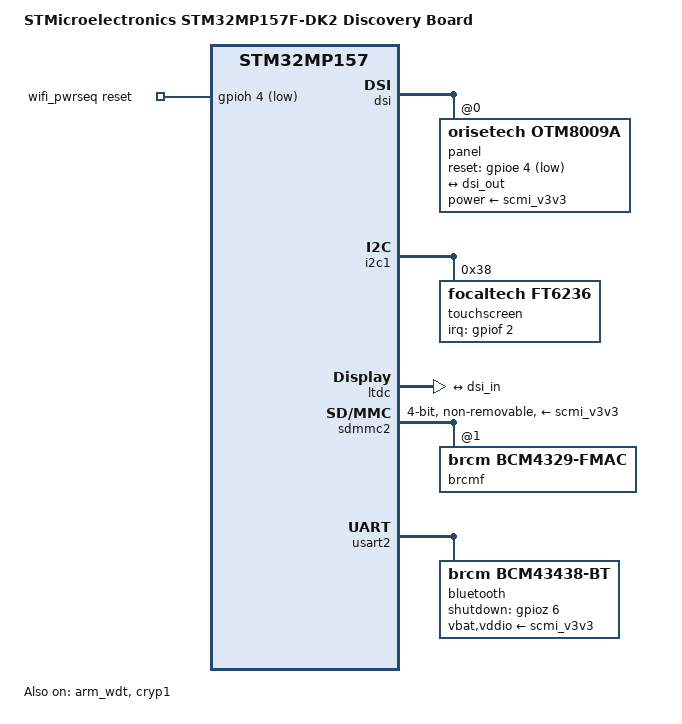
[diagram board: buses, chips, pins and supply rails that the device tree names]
// SPDX-License-Identifier: (GPL-2.0-only OR BSD-3-Clause)
/*
 * Copyright (C) STMicroelectronics 2025 - All Rights Reserved
 * Author: Amelie Delaunay <amelie.delaunay@foss.st.com> for STMicroelectronics.
 */

/dts-v1/;

#include "stm32mp157.dtsi"
#include "stm32mp15xf.dtsi"
#include "stm32mp15-pinctrl.dtsi"
#include "stm32mp15xxac-pinctrl.dtsi"
#include "stm32mp15xx-dkx.dtsi"
#include "stm32mp157f-dk2-scmi.dtsi"

/ {
	model = "STMicroelectronics STM32MP157F-DK2 Discovery Board";
	compatible = "st,stm32mp157f-dk2", "st,stm32mp157";

	aliases {
		ethernet0 = &ethernet0;
		serial3 = &usart2;
	};

	chosen {
		stdout-path = "serial0:115200n8";
	};

	wifi_pwrseq: wifi-pwrseq {
		compatible = "mmc-pwrseq-simple";
		reset-gpios = <&gpioh 4 GPIO_ACTIVE_LOW>;
	};
};

&arm_wdt {
	timeout-sec = <32>;
	status = "okay";
};

&cryp1 {
	status = "okay";
};

&dsi {
	#address-cells = <1>;
	#size-cells = <0>;
	status = "okay";

	panel@0 {
		compatible = "orisetech,otm8009a";
		reg = <0>;
		reset-gpios = <&gpioe 4 GPIO_ACTIVE_LOW>;
		power-supply = <&scmi_v3v3>;

		port {
			panel_in: endpoint {
				remote-endpoint = <&dsi_out>;
			};
		};
	};
};

&dsi_in {
	remote-endpoint = <&ltdc_ep1_out>;
};

&dsi_out {
	remote-endpoint = <&panel_in>;
};

&i2c1 {
	touchscreen@38 {
		compatible = "focaltech,ft6236";
		reg = <0x38>;
		interrupts = <2 IRQ_TYPE_EDGE_FALLING>;
		interrupt-parent = <&gpiof>;
		touchscreen-size-x = <480>;
		touchscreen-size-y = <800>;
	};
};

/* I2C4 is managed by OP-TEE */
&i2c4 {
	status = "disabled";

	/* i2c4 subnodes, which won't be managed by Linux */
	typec@28 {
		status = "disabled";
		connector {
			status = "disabled";
		};
	};

	stpmic@33 {
		status = "disabled";
	};
};

&ltdc {
	status = "okay";

	port {
		#address-cells = <1>;
		#size-cells = <0>;

		ltdc_ep1_out: endpoint@1 {
			reg = <1>;
			remote-endpoint = <&dsi_in>;
		};
	};
};

&rtc {
	pinctrl-names = "default";
	pinctrl-0 = <&rtc_rsvd_pins_a>;

	rtc_lsco_pins_a: rtc-lsco-0 {
		pins = "out2_rmp";
		function = "lsco";
	};
};

/* Wifi */
&sdmmc2 {
	pinctrl-names = "default", "opendrain", "sleep";
	pinctrl-0 = <&sdmmc2_b4_pins_a>;
	pinctrl-1 = <&sdmmc2_b4_od_pins_a>;
	pinctrl-2 = <&sdmmc2_b4_sleep_pins_a>;
	non-removable;
	cap-sdio-irq;
	st,neg-edge;
	bus-width = <4>;
	vmmc-supply = <&scmi_v3v3>;
	mmc-pwrseq = <&wifi_pwrseq>;
	#address-cells = <1>;
	#size-cells = <0>;
	status = "okay";

	brcmf: wifi@1 {
		reg = <1>;
		compatible = "brcm,bcm4329-fmac";
		pinctrl-names = "default";
		pinctrl-0 = <&rtc_lsco_pins_a>;
	};
};

/* Bluetooth */
&usart2 {
	pinctrl-names = "default", "sleep", "idle";
	pinctrl-0 = <&usart2_pins_c>;
	pinctrl-1 = <&usart2_sleep_pins_c>;
	pinctrl-2 = <&usart2_idle_pins_c>;
	uart-has-rtscts;
	status = "okay";

	bluetooth {
		shutdown-gpios = <&gpioz 6 GPIO_ACTIVE_HIGH>;
		compatible = "brcm,bcm43438-bt";
		max-speed = <3000000>;
		vbat-supply = <&scmi_v3v3>;
		vddio-supply = <&scmi_v3v3>;
	};
};

/* Since I2C4 is disabled, STUSB1600 is also disabled so there is no Type-C support */
&usbotg_hs {
	dr_mode = "peripheral";
	role-switch-default-mode = "peripheral";
	/*
	 * Forcing dr_mode = "peripheral"/"role-switch-default-mode = "peripheral";
	 * will cause the pull-up on D+/D- to be raised as soon as the OTG is configured at runtime,
	 * regardless of the presence of VBUS. Notice that on self-powered devices like
	 * stm32mp157f-dk2, this isn't compliant with the USB standard. That's why usbotg_hs is kept
	 * disabled here.
	 */
	status = "disabled";
};
